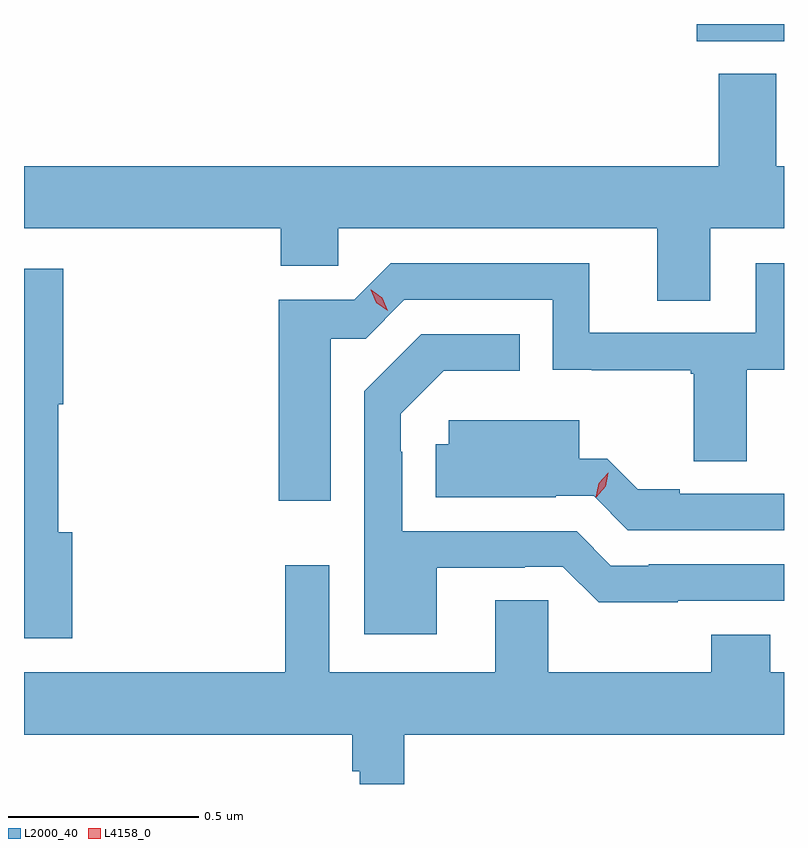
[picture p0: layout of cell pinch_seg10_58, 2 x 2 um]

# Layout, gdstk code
import gdstk
lib = gdstk.Library(unit=1e-6, precision=1e-09)
def R(c, l, rs):  # rectangles x0, y0, x1, y1
    for r in rs: c.add(gdstk.rectangle(r[:2], r[2:], *l))
def P(c, l, *ps):  # polygons
    for p in ps: c.add(gdstk.Polygon(p, *l))
L2000_40 = (2000, 40)
L4158_0 = (4158, 0)

pinch_seg10_58 = lib.new_cell('pinch_seg10_58')
R(pinch_seg10_58, L2000_40, [(841.784,1306.136,842.013,1306.182)])
P(pinch_seg10_58, L2000_40, [(841.819,1305.644),(842.013,1305.644),(842.013,1305.808),(841.993,1305.808),(841.993,1306.051),(841.841,1306.051),(841.841,1305.808),(840.013,1305.808),(840.013,1305.644),(840.689,1305.644),(840.689,1305.546),(840.84,1305.546),(840.84,1305.644),(841.679,1305.644),(841.679,1305.454),(841.819,1305.454)],
  [(840.82,1305.354),(840.912,1305.354),(841.014,1305.456),(841.404,1305.456),(841.404,1305.272),(841.507,1305.272),(841.507,1305.271),(841.768,1305.271),(841.768,1305.261),(841.775,1305.261),(841.775,1305.031),(841.915,1305.031),(841.915,1305.272),(842.013,1305.272),(842.013,1305.552),(841.938,1305.552),(841.938,1305.369),(841.501,1305.369),(841.501,1305.552),(840.978,1305.552),(840.882,1305.456),(840.683,1305.456),(840.683,1304.928),(840.82,1304.928)],
  [(840.14,1304.844),(840.103,1304.844),(840.103,1305.182),(840.116,1305.182),(840.116,1305.538),(840.013,1305.538),(840.013,1304.565),(840.14,1304.565)],
  [(841.099,1304.751),(841.331,1304.751),(841.331,1304.754),(841.431,1304.754),(841.525,1304.66),(841.733,1304.66),(841.733,1304.664),(842.013,1304.664),(842.013,1304.76),(841.657,1304.76),(841.657,1304.757),(841.557,1304.757),(841.467,1304.847),(841.009,1304.847),(841.009,1305.056),(841.005,1305.056),(841.005,1305.156),(841.118,1305.269),(841.318,1305.269),(841.318,1305.366),(841.058,1305.366),(840.908,1305.216),(840.908,1304.576),(841.099,1304.576)],
  [(842.013,1304.946),(841.738,1304.946),(841.738,1304.958),(841.628,1304.958),(841.548,1305.038),(841.474,1305.038),(841.474,1305.139),(841.131,1305.139),(841.131,1305.076),(841.097,1305.076),(841.097,1304.936),(841.412,1304.936),(841.412,1304.94),(841.512,1304.94),(841.602,1304.85),(842.013,1304.85)],
  [(841.013,1304.312),(842.013,1304.312),(842.013,1304.476),(841.977,1304.476),(841.977,1304.575),(841.822,1304.575),(841.822,1304.476),(841.392,1304.476),(841.392,1304.666),(841.253,1304.666),(841.253,1304.476),(840.816,1304.476),(840.816,1304.758),(840.7,1304.758),(840.7,1304.476),(840.013,1304.476),(840.013,1304.312),(840.877,1304.312),(840.877,1304.216),(840.897,1304.216),(840.897,1304.182),(841.013,1304.182)])
P(pinch_seg10_58, L4158_0, [(841.518,1304.937),(841.526,1304.974),(841.55,1305.001),(841.551,1305.001),(841.551,1305.001),(841.544,1304.965),(841.519,1304.937),(841.519,1304.937)],
  [(840.97,1305.427),(840.94,1305.449),(840.926,1305.483),(840.926,1305.483),(840.927,1305.483),(840.956,1305.461),(840.97,1305.427),(840.97,1305.427)])

lib.write_gds('pinch_seg10_58.gds')
